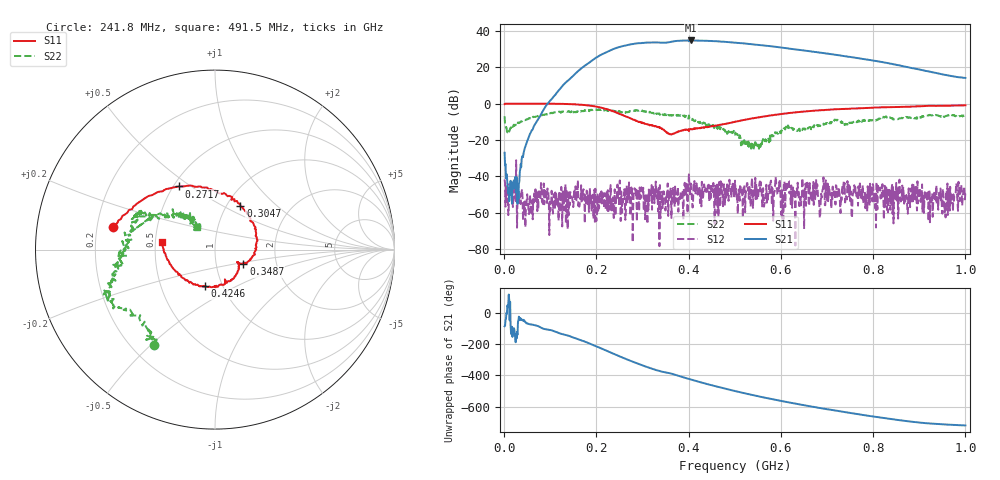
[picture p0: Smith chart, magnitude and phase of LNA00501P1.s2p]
! Created with skrf 1.9.0 (http://scikit-rf.org).
# Hz S RI R 50.0
!freq ReS11 ImS11 ReS21 ImS21 ReS12 ImS12 ReS22 ImS22
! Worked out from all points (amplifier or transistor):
!   1001 points, 1 MHz to 1 GHz, reference 50 ohm
!   highest |S21| = 34.8 dB at 404.6 MHz (marker M1)
!   |S21| within 3 dB of that: 259.4 MHz to 571.7 MHz (312.3 MHz wide, 75.1 % of centre)
!   unconditionally stable (mu >= 1): 24.6 MHz to 74.59 MHz; 251.1 MHz to 400.5 MHz; 400.7 MHz to end of sweep (the widest 3 of 33)
!   at 166.8 MHz: K = 0.83, MSG = 32.1 dB, |S12| = -44.9 dB
!   at 500.5 MHz: K = 1.35, MAG = 34.5 dB, |S12| = -42.4 dB
!   at 1 GHz: K = 3.56, MAG = 22.8 dB, |S12| = -48.4 dB
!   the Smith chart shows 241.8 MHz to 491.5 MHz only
!   S11 on the Smith chart (normalised r, x): 241.8 MHz: 0.27, +0.10; 271.7 MHz: 0.53, +0.45; 304.7 MHz: 1.16, +0.61; 348.7 MHz: 1.36, -0.22; 424.6 MHz: 0.83, -0.35; 491.5 MHz: 0.54, +0.05
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1000000  0.9753 -0.00203  0.00335 -0.0446  -0.00703 -0.0043  0.3488 0.287
1.08892e8  0.5301 -0.8405  -0.7695 -1.461  0.000132 -0.0028  0.4166 -0.3853
1.67833e8  -0.2159 -0.9098  -9.474 -0.601  -0.000771 0.0019  0.0293 -0.6352
2.09791e8  -0.6695 -0.4013  -15.25 15.83  0.00148 0.00212  -0.2074 -0.6366
2.41759e8  -0.5655 0.1237  -1.641 33.45  0.000719 -0.000402  -0.3387 -0.5309
2.71729e8  -0.2002 0.3517  23.67 34.66  0.00199 0.00175  -0.495 -0.3289
3.04696e8  0.1419 0.2418  44.81 15.25  -0.000301 -0.00233  -0.577 -0.2099
3.34666e8  0.2301 0.000433  47.35 -8.476  -0.0041 0.00205  -0.5343 -0.0144
3.48652e8  0.1588 -0.0795  44.48 -16.36  0.00198 0.00162  -0.505 0.0131
3.72628e8  0.1343 -0.0886  42.09 -32.06  -0.00284 0.00172  -0.4427 0.1496
4.04596e8  0.0472 -0.1972  21.86 -50.18  0.00219 0.00599  -0.3227 0.1923
4.24576e8  -0.054 -0.2024  6.763 -53.64  0.00184 6.01e-05  -0.2459 0.202
4.55545e8  -0.2042 -0.1407  -15.61 -49.88  -0.00143 -0.000376  -0.1257 0.1706
4.91509e8  -0.2953 0.043  -33.66 -35.36  0.0042 -0.00201  -0.099 0.1285
5.005e8  -0.3054 0.0934  -36.81 -30.77  0.00601 0.00469  -0.082 0.1142
5.4046e8  -0.25 0.3087  -41.58 -9.782  0.0028 -0.00305  -0.0514 0.0184
5.88412e8  -0.0604 0.4939  -35.05 10.49  0.00716 -0.00661  -0.1203 -0.0946
6.25375e8  0.1163 0.5544  -25.22 19.24  0.00221 -0.00252  -0.1788 -0.1122
6.67333e8  0.32 0.5446  -13.5 23.32  -0.00226 -0.00142  -0.2265 -0.0501
7.53247e8  0.6269 0.3772  3.876 18.56  -0.000527 -0.000516  -0.2922 0.02
8.34166e8  0.7864 0.1526  9.431 8.74  -0.0017 0.00394  -0.4328 0.0445
1e9  0.8188 -0.3777  5.092 -0.0108  -0.00344 0.00162  -0.2533 0.3894
